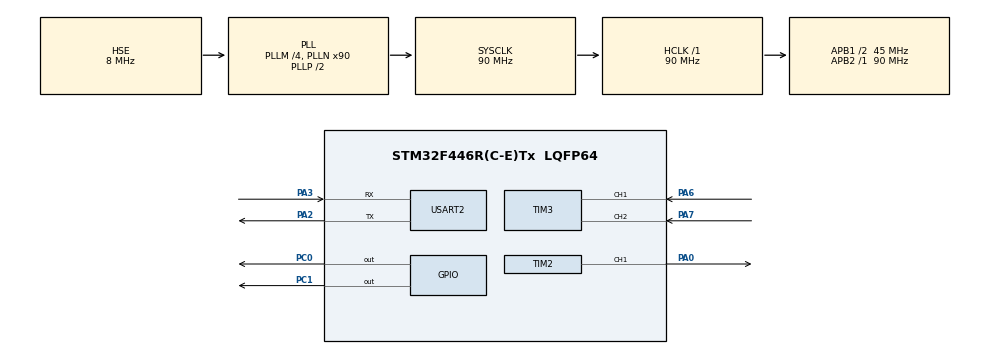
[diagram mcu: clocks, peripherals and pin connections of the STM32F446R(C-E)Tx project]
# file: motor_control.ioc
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Dma.Request0=USART2_RX
Dma.Request1=USART2_TX
Dma.USART2_RX.0.Direction=DMA_PERIPH_TO_MEMORY
Dma.USART2_RX.0.FIFOMode=DMA_FIFOMODE_DISABLE
Dma.USART2_RX.0.Instance=DMA1_Stream5
Dma.USART2_RX.0.MemDataAlignment=DMA_MDATAALIGN_BYTE
Dma.USART2_RX.0.MemInc=DMA_MINC_ENABLE
Dma.USART2_RX.0.Mode=DMA_NORMAL
Dma.USART2_RX.0.PeriphDataAlignment=DMA_PDATAALIGN_BYTE
Dma.USART2_RX.0.PeriphInc=DMA_PINC_DISABLE
Dma.USART2_RX.0.Priority=DMA_PRIORITY_LOW
Dma.USART2_TX.1.Direction=DMA_MEMORY_TO_PERIPH
Dma.USART2_TX.1.FIFOMode=DMA_FIFOMODE_DISABLE
Dma.USART2_TX.1.Instance=DMA1_Stream6
Dma.USART2_TX.1.MemDataAlignment=DMA_MDATAALIGN_BYTE
Dma.USART2_TX.1.MemInc=DMA_MINC_ENABLE
Dma.USART2_TX.1.Mode=DMA_NORMAL
Dma.USART2_TX.1.PeriphDataAlignment=DMA_PDATAALIGN_BYTE
Dma.USART2_TX.1.PeriphInc=DMA_PINC_DISABLE
Dma.USART2_TX.1.Priority=DMA_PRIORITY_LOW
Mcu.Family=STM32F4
Mcu.Name=STM32F446R(C-E)Tx
Mcu.Package=LQFP64
NVIC.DMA1_Stream5_IRQn=true\:0\:0\:false\:false\:true\:false\:true\:true
NVIC.DMA1_Stream6_IRQn=true\:0\:0\:false\:false\:true\:false\:true\:true
NVIC.PriorityGroup=NVIC_PRIORITYGROUP_4
NVIC.TIM2_IRQn=true\:0\:0\:false\:false\:true\:true\:true\:true
NVIC.TIM3_IRQn=true\:0\:0\:false\:false\:true\:true\:true\:true
NVIC.TIM4_IRQn=true\:0\:0\:true\:false\:true\:true\:true\:true
NVIC.USART2_IRQn=true\:0\:0\:true\:false\:true\:true\:true\:true
PA0-WKUP.Signal=S_TIM2_CH1_ETR
PA13.Mode=Serial_Wire
PA13.Signal=SYS_JTMS-SWDIO
PA14.Mode=Serial_Wire
PA14.Signal=SYS_JTCK-SWCLK
PA2.Mode=Asynchronous
PA2.Signal=USART2_TX
PA3.Mode=Asynchronous
PA3.Signal=USART2_RX
PA6.Signal=S_TIM3_CH1
PA7.Signal=S_TIM3_CH2
PC0.Signal=GPIO_Output
PC1.Signal=GPIO_Output
PH0-OSC_IN.Mode=HSE-External-Oscillator
PH0-OSC_IN.Signal=RCC_OSC_IN
PH1-OSC_OUT.Mode=HSE-External-Oscillator
PH1-OSC_OUT.Signal=RCC_OSC_OUT
ProjectManager.HeapSize=0x200
ProjectManager.StackSize=0x400
ProjectManager.TargetToolchain=STM32CubeIDE
RCC.AHBFreq_Value=90000000
RCC.APB1CLKDivider=RCC_HCLK_DIV2
RCC.APB1Freq_Value=45000000
RCC.APB1TimFreq_Value=90000000
RCC.APB2Freq_Value=90000000
RCC.APB2TimFreq_Value=90000000
RCC.CortexFreq_Value=90000000
RCC.HCLKFreq_Value=90000000
RCC.HSE_VALUE=8000000
RCC.PLLM=4
RCC.PLLN=90
RCC.PLLSourceVirtual=RCC_PLLSOURCE_HSE
RCC.SYSCLKFreq_VALUE=90000000
RCC.SYSCLKSource=RCC_SYSCLKSOURCE_PLLCLK
RCC.USBFreq_Value=90000000
RCC.VCOOutputFreq_Value=180000000
SH.S_TIM2_CH1_ETR.0=TIM2_CH1,PWM Generation1 CH1
SH.S_TIM3_CH1.0=TIM3_CH1,Encoder_Interface
SH.S_TIM3_CH2.0=TIM3_CH2,Encoder_Interface
TIM2.Channel-PWM\ Generation1\ CH1=TIM_CHANNEL_1
TIM2.Period=10000-1
TIM2.Prescaler=90-1
TIM3.EncoderMode=TIM_ENCODERMODE_TI12
TIM3.IC1Filter=15
TIM3.IC2Filter=15
TIM4.Period=1000-1
TIM4.Prescaler=90-1
USART2.VirtualMode=VM_ASYNC
VP_TIM2_VS_ClockSourceINT.Mode=Internal
VP_TIM4_VS_ClockSourceINT.Mode=Internal
board=custom

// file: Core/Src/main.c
/* USER CODE BEGIN Header */
/**
  ******************************************************************************
  * @file           : main.c
  * @brief          : Main program body
  ******************************************************************************
  * @attention
  *
  * Copyright (c) 2024 STMicroelectronics.
  * All rights reserved.
  *
  * This software is licensed under terms that can be found in the LICENSE file
  * in the root directory of this software component.
  * If no LICENSE file comes with this software, it is provided AS-IS.
  *
  ******************************************************************************
  */
/* USER CODE END Header */
#include "main.h"

/* USER CODE BEGIN Includes */
#include <stdio.h>
#include <math.h>
#include "motor.h"
#include "encoder.h"
#include "pid.h"
/* USER CODE END Includes */

/* USER CODE BEGIN PD */
#define _Kp 440.0
#define _Ki 40.0
#define _Kd 8000.0
/* USER CODE END PD */

TIM_HandleTypeDef htim2;
TIM_HandleTypeDef htim3;
TIM_HandleTypeDef htim4;

UART_HandleTypeDef huart2;
DMA_HandleTypeDef hdma_usart2_rx;
DMA_HandleTypeDef hdma_usart2_tx;

/* USER CODE BEGIN PV */
float TARGET_POS = M_PI;
ENCODER *e1;
PID *u1;
float time = 0;
char message[100] = "";
/* USER CODE END PV */

void SystemClock_Config(void);
static void MX_GPIO_Init(void);
static void MX_DMA_Init(void);
static void MX_TIM2_Init(void);
static void MX_TIM3_Init(void);
static void MX_TIM4_Init(void);
static void MX_USART2_UART_Init(void);

/* USER CODE BEGIN 0 */
void HAL_TIM_PeriodElapsedCallback(TIM_HandleTypeDef *htim)
{
	if (htim == &htim4)
	{
		time += (float)SAMP_TIME;
		encoder_info(&htim3, e1);
		sprintf(message, ",%.3f,%.3f,%.3f,%.3f\r\n", time, e1->position, e1->velocity, u1->output * (12.0 / 10000.0));
		HAL_UART_Transmit_DMA(&huart2, (uint8_t *)message, sizeof(message));
	}
}
/* USER CODE END 0 */

int main(void)
{

  /* MCU Configuration--------------------------------------------------------*/

  /* Reset of all peripherals, Initializes the Flash interface and the Systick. */
  HAL_Init();

  /* USER CODE BEGIN Init */
  motor_init();
  /* USER CODE END Init */

  /* Configure the system clock */
  SystemClock_Config();

  /* Initialize all configured peripherals */
  MX_GPIO_Init();
  MX_DMA_Init();
  MX_TIM2_Init();
  MX_TIM3_Init();
  MX_TIM4_Init();
  MX_USART2_UART_Init();
  /* USER CODE BEGIN 2 */
  HAL_TIM_PWM_Start(&htim2, TIM_CHANNEL_1);
  HAL_TIM_Encoder_Start(&htim3, TIM_CHANNEL_ALL);
  HAL_TIM_Base_Start_IT(&htim4);
  e1 = &( (ENCODER){
	  .pre_position = 0,
	  .position = 0,
	  .velocity = 0,
	  .cur_cnt = 0,
	  .pre_cnt = 0
  });
  u1 = &( (PID) {
	  .Kp = _Kp,
	  .Ki = _Ki,
	  .Kd = _Kd,
	  .error = 0,
	  .error_pre = 0,
	  .error_sum = 0,
	  .output = 0
    });
  /* USER CODE END 2 */

  /* Infinite loop */
  while (1)
  {

    /* USER CODE BEGIN 3 */
	  pid_control(u1, e1);
	  motor_pwm(u1->output);
  }
  /* USER CODE END 3 */
}

void SystemClock_Config(void)
{
  RCC_OscInitTypeDef RCC_OscInitStruct = {0};
  RCC_ClkInitTypeDef RCC_ClkInitStruct = {0};

  /** Configure the main internal regulator output voltage
  */
  __HAL_RCC_PWR_CLK_ENABLE();
  __HAL_PWR_VOLTAGESCALING_CONFIG(PWR_REGULATOR_VOLTAGE_SCALE3);

  /** Initializes the RCC Oscillators according to the specified parameters
  * in the RCC_OscInitTypeDef structure.
  */
  RCC_OscInitStruct.OscillatorType = RCC_OSCILLATORTYPE_HSE;
  RCC_OscInitStruct.HSEState = RCC_HSE_ON;
  RCC_OscInitStruct.PLL.PLLState = RCC_PLL_ON;
  RCC_OscInitStruct.PLL.PLLSource = RCC_PLLSOURCE_HSE;
  RCC_OscInitStruct.PLL.PLLM = 4;
  RCC_OscInitStruct.PLL.PLLN = 90;
  RCC_OscInitStruct.PLL.PLLP = RCC_PLLP_DIV2;
  RCC_OscInitStruct.PLL.PLLQ = 2;
  RCC_OscInitStruct.PLL.PLLR = 2;
  if (HAL_RCC_OscConfig(&RCC_OscInitStruct) != HAL_OK)
  {
    Error_Handler();
  }

  /** Initializes the CPU, AHB and APB buses clocks
  */
  RCC_ClkInitStruct.ClockType = RCC_CLOCKTYPE_HCLK|RCC_CLOCKTYPE_SYSCLK
                              |RCC_CLOCKTYPE_PCLK1|RCC_CLOCKTYPE_PCLK2;
  RCC_ClkInitStruct.SYSCLKSource = RCC_SYSCLKSOURCE_PLLCLK;
  RCC_ClkInitStruct.AHBCLKDivider = RCC_SYSCLK_DIV1;
  RCC_ClkInitStruct.APB1CLKDivider = RCC_HCLK_DIV2;
  RCC_ClkInitStruct.APB2CLKDivider = RCC_HCLK_DIV1;

  if (HAL_RCC_ClockConfig(&RCC_ClkInitStruct, FLASH_LATENCY_2) != HAL_OK)
  {
    Error_Handler();
  }
}

static void MX_TIM2_Init(void)
{

  TIM_ClockConfigTypeDef sClockSourceConfig = {0};
  TIM_MasterConfigTypeDef sMasterConfig = {0};
  TIM_OC_InitTypeDef sConfigOC = {0};

  htim2.Instance = TIM2;
  htim2.Init.Prescaler = 90-1;
  htim2.Init.CounterMode = TIM_COUNTERMODE_UP;
  htim2.Init.Period = 10000-1;
  htim2.Init.ClockDivision = TIM_CLOCKDIVISION_DIV1;
  htim2.Init.AutoReloadPreload = TIM_AUTORELOAD_PRELOAD_DISABLE;
  if (HAL_TIM_Base_Init(&htim2) != HAL_OK)
  {
    Error_Handler();
  }
  sClockSourceConfig.ClockSource = TIM_CLOCKSOURCE_INTERNAL;
  if (HAL_TIM_ConfigClockSource(&htim2, &sClockSourceConfig) != HAL_OK)
  {
    Error_Handler();
  }
  if (HAL_TIM_PWM_Init(&htim2) != HAL_OK)
  {
    Error_Handler();
  }
  sMasterConfig.MasterOutputTrigger = TIM_TRGO_RESET;
  sMasterConfig.MasterSlaveMode = TIM_MASTERSLAVEMODE_DISABLE;
  if (HAL_TIMEx_MasterConfigSynchronization(&htim2, &sMasterConfig) != HAL_OK)
  {
    Error_Handler();
  }
  sConfigOC.OCMode = TIM_OCMODE_PWM1;
  sConfigOC.Pulse = 0;
  sConfigOC.OCPolarity = TIM_OCPOLARITY_HIGH;
  sConfigOC.OCFastMode = TIM_OCFAST_DISABLE;
  if (HAL_TIM_PWM_ConfigChannel(&htim2, &sConfigOC, TIM_CHANNEL_1) != HAL_OK)
  {
    Error_Handler();
  }
  HAL_TIM_MspPostInit(&htim2);

}

static void MX_TIM3_Init(void)
{

  TIM_Encoder_InitTypeDef sConfig = {0};
  TIM_MasterConfigTypeDef sMasterConfig = {0};

  htim3.Instance = TIM3;
  htim3.Init.Prescaler = 0;
  htim3.Init.CounterMode = TIM_COUNTERMODE_UP;
  htim3.Init.Period = 65535;
  htim3.Init.ClockDivision = TIM_CLOCKDIVISION_DIV1;
  htim3.Init.AutoReloadPreload = TIM_AUTORELOAD_PRELOAD_DISABLE;
  sConfig.EncoderMode = TIM_ENCODERMODE_TI12;
  sConfig.IC1Polarity = TIM_ICPOLARITY_RISING;
  sConfig.IC1Selection = TIM_ICSELECTION_DIRECTTI;
  sConfig.IC1Prescaler = TIM_ICPSC_DIV1;
  sConfig.IC1Filter = 15;
  sConfig.IC2Polarity = TIM_ICPOLARITY_RISING;
  sConfig.IC2Selection = TIM_ICSELECTION_DIRECTTI;
  sConfig.IC2Prescaler = TIM_ICPSC_DIV1;
  sConfig.IC2Filter = 15;
  if (HAL_TIM_Encoder_Init(&htim3, &sConfig) != HAL_OK)
  {
    Error_Handler();
  }
  sMasterConfig.MasterOutputTrigger = TIM_TRGO_RESET;
  sMasterConfig.MasterSlaveMode = TIM_MASTERSLAVEMODE_DISABLE;
  if (HAL_TIMEx_MasterConfigSynchronization(&htim3, &sMasterConfig) != HAL_OK)
  {
    Error_Handler();
  }

}

static void MX_TIM4_Init(void)
{

  TIM_ClockConfigTypeDef sClockSourceConfig = {0};
  TIM_MasterConfigTypeDef sMasterConfig = {0};

  htim4.Instance = TIM4;
  htim4.Init.Prescaler = 90-1;
  htim4.Init.CounterMode = TIM_COUNTERMODE_UP;
  htim4.Init.Period = 1000-1;
  htim4.Init.ClockDivision = TIM_CLOCKDIVISION_DIV1;
  htim4.Init.AutoReloadPreload = TIM_AUTORELOAD_PRELOAD_DISABLE;
  if (HAL_TIM_Base_Init(&htim4) != HAL_OK)
  {
    Error_Handler();
  }
  sClockSourceConfig.ClockSource = TIM_CLOCKSOURCE_INTERNAL;
  if (HAL_TIM_ConfigClockSource(&htim4, &sClockSourceConfig) != HAL_OK)
  {
    Error_Handler();
  }
  sMasterConfig.MasterOutputTrigger = TIM_TRGO_RESET;
  sMasterConfig.MasterSlaveMode = TIM_MASTERSLAVEMODE_DISABLE;
  if (HAL_TIMEx_MasterConfigSynchronization(&htim4, &sMasterConfig) != HAL_OK)
  {
    Error_Handler();
  }

}

static void MX_USART2_UART_Init(void)
{

  huart2.Instance = USART2;
  huart2.Init.BaudRate = 115200;
  huart2.Init.WordLength = UART_WORDLENGTH_8B;
  huart2.Init.StopBits = UART_STOPBITS_1;
  huart2.Init.Parity = UART_PARITY_NONE;
  huart2.Init.Mode = UART_MODE_TX_RX;
  huart2.Init.HwFlowCtl = UART_HWCONTROL_NONE;
  huart2.Init.OverSampling = UART_OVERSAMPLING_16;
  if (HAL_UART_Init(&huart2) != HAL_OK)
  {
    Error_Handler();
  }

}

static void MX_DMA_Init(void)
{

  /* DMA controller clock enable */
  __HAL_RCC_DMA1_CLK_ENABLE();

  /* DMA interrupt init */
  /* DMA1_Stream5_IRQn interrupt configuration */
  HAL_NVIC_SetPriority(DMA1_Stream5_IRQn, 0, 0);
  HAL_NVIC_EnableIRQ(DMA1_Stream5_IRQn);
  /* DMA1_Stream6_IRQn interrupt configuration */
  HAL_NVIC_SetPriority(DMA1_Stream6_IRQn, 0, 0);
  HAL_NVIC_EnableIRQ(DMA1_Stream6_IRQn);

}

static void MX_GPIO_Init(void)
{
  GPIO_InitTypeDef GPIO_InitStruct = {0};

  /* GPIO Ports Clock Enable */
  __HAL_RCC_GPIOH_CLK_ENABLE();
  __HAL_RCC_GPIOC_CLK_ENABLE();
  __HAL_RCC_GPIOA_CLK_ENABLE();

  /*Configure GPIO pin Output Level */
  HAL_GPIO_WritePin(GPIOC, GPIO_PIN_0|GPIO_PIN_1, GPIO_PIN_RESET);

  /*Configure GPIO pins : PC0 PC1 */
  GPIO_InitStruct.Pin = GPIO_PIN_0|GPIO_PIN_1;
  GPIO_InitStruct.Mode = GPIO_MODE_OUTPUT_PP;
  GPIO_InitStruct.Pull = GPIO_NOPULL;
  GPIO_InitStruct.Speed = GPIO_SPEED_FREQ_LOW;
  HAL_GPIO_Init(GPIOC, &GPIO_InitStruct);

}

void Error_Handler(void)
{
  __disable_irq();
  while (1)
  {
  }
}
